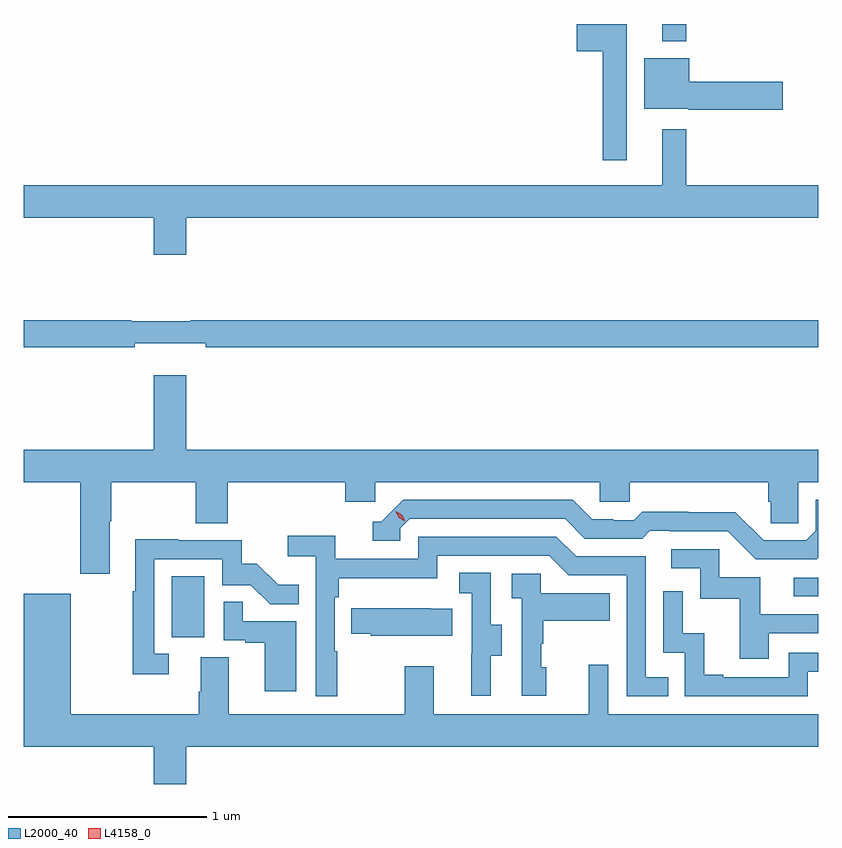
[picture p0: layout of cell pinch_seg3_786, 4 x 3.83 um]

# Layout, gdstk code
import gdstk
lib = gdstk.Library(unit=1e-6, precision=1e-09)
def R(c, l, rs):  # rectangles x0, y0, x1, y1
    for r in rs: c.add(gdstk.rectangle(r[:2], r[2:], *l))
def P(c, l, *ps):  # polygons
    for p in ps: c.add(gdstk.Polygon(p, *l))
L2000_40 = (2000, 40)
L4158_0 = (4158, 0)

pinch_seg3_786 = lib.new_cell('pinch_seg3_786')
R(pinch_seg3_786, L2000_40, [(812.45,713.454,812.614,713.761), (815.583,713.661,815.705,713.754), (814.919,716.456,815.041,716.543)])
P(pinch_seg3_786, L2000_40, [(814.741,716.543),(814.49,716.543),(814.49,716.405),(814.62,716.405),(814.62,715.857),(814.741,715.857)],
  [(815.527,716.252),(815.056,716.252),(815.056,716.371),(814.829,716.371),(814.829,716.117),(815.052,716.117),(815.052,716.11),(815.527,716.11)],
  [(812.524,715.568),(815.705,715.568),(815.705,715.732),(815.041,715.732),(815.041,716.014),(814.919,716.014),(814.919,715.732),(811.705,715.732),(811.705,715.568),(812.36,715.568),(812.36,715.38),(812.524,715.38)],
  [(812.264,714.935),(812.62,714.935),(812.62,714.916),(815.705,714.916),(815.705,715.052),(812.546,715.052),(812.546,715.045),(812.246,715.045),(812.246,715.052),(811.705,715.052),(811.705,714.916),(812.264,714.916)],
  [(812.137,714.04),(812.145,714.04),(812.145,714.236),(812.572,714.236),(812.572,714.028),(812.732,714.028),(812.732,714.236),(813.323,714.236),(813.323,714.138),(813.474,714.138),(813.474,714.236),(814.605,714.236),(814.605,714.138),(814.755,714.138),(814.755,714.236),(815.453,714.236),(815.453,714.138),(815.467,714.138),(815.467,714.028),(815.604,714.028),(815.604,714.236),(815.705,714.236),(815.705,714.4),(812.524,714.4),(812.524,714.775),(812.36,714.775),(812.36,714.4),(811.705,714.4),(811.705,714.236),(811.99,714.236),(811.99,713.775),(812.137,713.775)],
  [(815.705,713.855),(815.705,714.147),(815.694,714.147),(815.694,713.991),(815.646,713.943),(815.43,713.943),(815.288,714.085),(815.052,714.085),(815.052,714.088),(814.819,714.088),(814.777,714.045),(814.674,714.045),(814.674,714.048),(814.567,714.048),(814.468,714.147),(813.615,714.147),(813.504,714.036),(813.461,714.036),(813.461,713.94),(813.6,713.94),(813.6,714.003),(813.648,714.051),(814.431,714.051),(814.53,713.952),(814.819,713.952),(814.858,713.991),(814.957,713.991),(814.957,713.988),(815.25,713.988),(815.391,713.847),(815.697,713.847)],
  [(813.283,713.384),(813.27,713.384),(813.27,713.657),(813.29,713.657),(813.29,713.753),(813.786,713.753),(813.786,713.865),(814.35,713.865),(814.449,713.766),(814.74,713.766),(814.74,713.157),(814.949,713.157),(814.949,713.253),(814.836,713.253),(814.836,713.862),(814.486,713.862),(814.387,713.961),(813.69,713.961),(813.69,713.85),(813.272,713.85),(813.272,713.966),(813.033,713.966),(813.033,713.864),(813.174,713.864),(813.174,713.157),(813.283,713.157)],
  [(812.434,713.373),(812.361,713.373),(812.361,713.847),(812.703,713.847),(812.703,713.718),(812.847,713.718),(812.945,713.62),(813.089,713.62),(813.089,713.719),(812.985,713.719),(812.878,713.826),(812.802,713.826),(812.802,713.943),(812.483,713.943),(812.483,713.948),(812.265,713.948),(812.265,713.687),(812.253,713.687),(812.253,713.268),(812.434,713.268)],
  [(815.455,713.475),(815.705,713.475),(815.705,713.571),(815.413,713.571),(815.413,713.757),(815.208,713.757),(815.208,713.898),(814.965,713.898),(814.965,713.802),(815.112,713.802),(815.112,713.649),(815.311,713.649),(815.311,713.346),(815.455,713.346)],
  [(814.057,713.362),(814.111,713.362),(814.111,713.517),(814.056,713.517),(814.056,713.78),(813.897,713.78),(813.897,713.677),(813.96,713.677),(813.96,713.373),(813.959,713.373),(813.959,713.16),(814.057,713.16)],
  [(814.336,713.304),(814.311,713.304),(814.311,713.423),(814.321,713.423),(814.321,713.537),(814.655,713.537),(814.655,713.677),(814.308,713.677),(814.308,713.775),(814.161,713.775),(814.161,713.651),(814.212,713.651),(814.212,713.16),(814.336,713.16)],
  [(815.652,713.28),(815.705,713.28),(815.705,713.376),(815.556,713.376),(815.556,713.253),(815.227,713.253),(815.227,713.266),(815.132,713.266),(815.132,713.474),(815.022,713.474),(815.022,713.686),(814.926,713.686),(814.926,713.376),(815.034,713.376),(815.034,713.157),(815.652,713.157)],
  [(812.524,712.904),(815.705,712.904),(815.705,713.068),(814.647,713.068),(814.647,713.317),(814.55,713.317),(814.55,713.068),(813.769,713.068),(813.769,713.308),(813.622,713.308),(813.622,713.068),(812.737,713.068),(812.737,713.354),(812.597,713.354),(812.597,713.18),(812.585,713.18),(812.585,713.068),(811.942,713.068),(811.942,713.674),(811.705,713.674),(811.705,712.904),(812.36,712.904),(812.36,712.716),(812.524,712.716)],
  [(813.076,713.535),(812.807,713.535),(812.807,713.633),(812.712,713.633),(812.712,713.439),(812.819,713.439),(812.819,713.427),(812.918,713.427),(812.918,713.184),(813.076,713.184)],
  [(813.863,713.599),(813.755,713.599),(813.755,713.602),(813.355,713.602),(813.355,713.473),(813.453,713.473),(813.453,713.462),(813.863,713.462)])
P(pinch_seg3_786, L4158_0, [(813.625,714.039),(813.594,714.057),(813.578,714.09),(813.578,714.09),(813.578,714.09),(813.609,714.071),(813.626,714.039),(813.626,714.039)])

lib.write_gds('pinch_seg3_786.gds')
